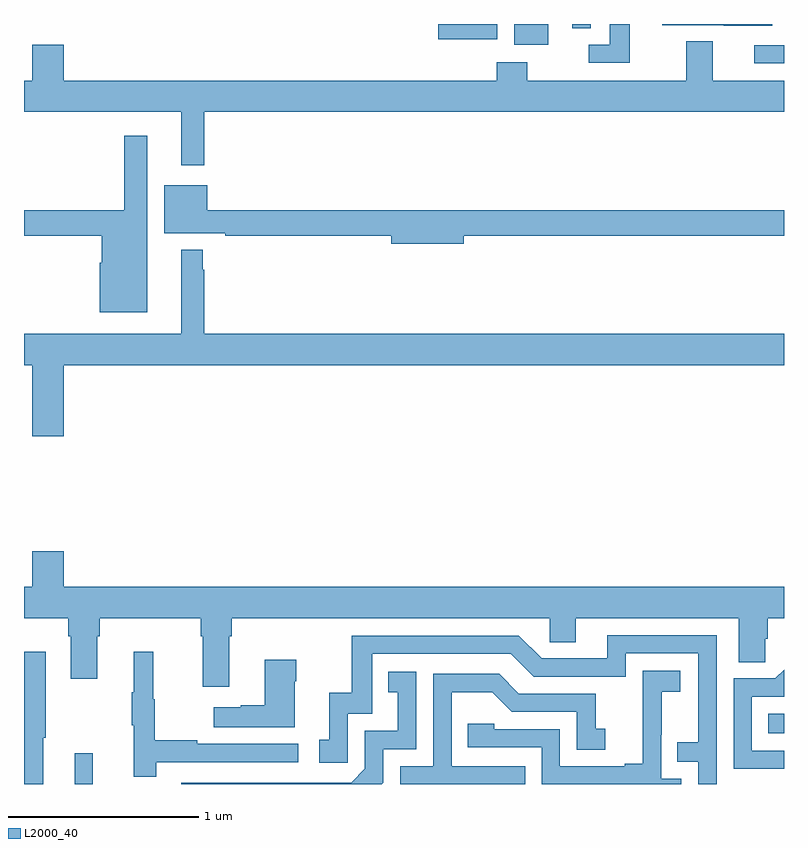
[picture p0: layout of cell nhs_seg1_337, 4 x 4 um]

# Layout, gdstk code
import gdstk
lib = gdstk.Library(unit=1e-6, precision=1e-09)
def R(c, l, rs):  # rectangles x0, y0, x1, y1
    for r in rs: c.add(gdstk.rectangle(r[:2], r[2:], *l))
def P(c, l, *ps):  # polygons
    for p in ps: c.add(gdstk.Polygon(p, *l))
L2000_40 = (2000, 40)

nhs_seg1_337 = lib.new_cell('nhs_seg1_337')
R(nhs_seg1_337, L2000_40, [(129.266,544.199,129.363,544.36), (132.916,544.466,133,544.57), (132.843,547.992,133,548.088), (131.579,548.09,131.758,548.199), (131.181,548.119,131.49,548.199), (131.886,548.176,131.982,548.199)])
P(nhs_seg1_337, L2000_40, [(132.937,548.199),(132.359,548.199),(132.359,548.193),(132.683,548.193),(132.683,548.189),(132.937,548.189)],
  [(132.187,548.199),(132.083,548.199),(132.083,548.091),(131.973,548.091),(131.973,547.995),(132.187,547.995)],
  [(129.949,547.736),(133,547.736),(133,547.9),(132.625,547.9),(132.625,548.108),(132.485,548.108),(132.485,547.9),(131.649,547.9),(131.649,547.999),(131.489,547.999),(131.489,547.9),(129.208,547.9),(129.208,548.089),(129.044,548.089),(129.044,547.9),(129,547.9),(129,547.736),(129.827,547.736),(129.827,547.455),(129.949,547.455)],
  [(129.649,547.612),(129.528,547.612),(129.528,547.22),(129,547.22),(129,547.084),(129.41,547.084),(129.41,546.942),(129.398,546.942),(129.398,546.683),(129.649,546.683)],
  [(131.314,547.084),(133,547.084),(133,547.22),(129.964,547.22),(129.964,547.351),(129.737,547.351),(129.737,547.097),(130.06,547.097),(130.06,547.084),(130.934,547.084),(130.934,547.042),(131.314,547.042)],
  [(129.208,546.404),(133,546.404),(133,546.568),(129.949,546.568),(129.949,546.905),(129.942,546.905),(129.942,547.012),(129.827,547.012),(129.827,546.568),(129,546.568),(129,546.404),(129.044,546.404),(129.044,546.03),(129.208,546.03)],
  [(130.081,544.976),(130.094,544.976),(130.094,545.072),(131.766,545.072),(131.766,544.945),(131.905,544.945),(131.905,545.072),(132.761,545.072),(132.761,544.84),(132.9,544.84),(132.9,544.963),(132.914,544.963),(132.914,545.072),(133,545.072),(133,545.236),(129.208,545.236),(129.208,545.425),(129.044,545.425),(129.044,545.236),(129,545.236),(129,545.072),(129.233,545.072),(129.233,544.976),(129.245,544.976),(129.245,544.752),(129.385,544.752),(129.385,544.976),(129.398,544.976),(129.398,545.072),(129.929,545.072),(129.929,544.976),(129.941,544.976),(129.941,544.71),(130.081,544.71)],
  [(132.645,544.983),(132.071,544.983),(132.071,544.86),(131.724,544.86),(131.604,544.98),(130.725,544.98),(130.725,544.678),(130.607,544.678),(130.607,544.431),(130.554,544.431),(130.554,544.311),(130.704,544.311),(130.704,544.569),(130.833,544.569),(130.833,544.884),(131.562,544.884),(131.682,544.764),(132.168,544.764),(132.168,544.887),(132.549,544.887),(132.549,544.418),(132.439,544.418),(132.439,544.317),(132.549,544.317),(132.549,544.199),(132.645,544.199)],
  [(129.695,544.314),(130.444,544.314),(130.444,544.41),(129.911,544.41),(129.911,544.43),(129.688,544.43),(129.688,544.644),(129.68,544.644),(129.68,544.894),(129.578,544.894),(129.578,544.681),(129.567,544.681),(129.567,544.507),(129.578,544.507),(129.578,544.236),(129.695,544.236)],
  [(129.1,544.442),(129.115,544.442),(129.115,544.894),(129,544.894),(129,544.199),(129.1,544.199)],
  [(130.426,544.739),(130.434,544.739),(130.434,544.852),(130.268,544.852),(130.268,544.613),(130.142,544.613),(130.142,544.603),(129.999,544.603),(129.999,544.499),(130.426,544.499)],
  [(133,544.374),(132.831,544.374),(132.831,544.659),(133,544.659),(133,544.801),(132.954,544.755),(132.735,544.755),(132.735,544.278),(133,544.278)],
  [(132.459,544.227),(132.354,544.227),(132.354,544.457),(132.356,544.457),(132.356,544.685),(132.454,544.685),(132.454,544.795),(132.256,544.795),(132.256,544.589),(132.257,544.589),(132.257,544.306),(132.161,544.306),(132.161,544.293),(131.82,544.293),(131.82,544.488),(131.475,544.488),(131.475,544.515),(131.335,544.515),(131.335,544.392),(131.724,544.392),(131.724,544.199),(132.459,544.199)],
  [(130.89,544.206),(130.89,544.383),(131.064,544.383),(131.064,544.789),(130.918,544.789),(130.918,544.683),(130.967,544.683),(130.967,544.479),(130.794,544.479),(130.794,544.278),(130.722,544.206),(129.828,544.206),(129.828,544.199),(130.883,544.199)],
  [(131.639,544.293),(131.25,544.293),(131.25,544.682),(131.464,544.682),(131.568,544.578),(131.91,544.578),(131.91,544.38),(132.058,544.38),(132.058,544.489),(132.009,544.489),(132.009,544.674),(131.605,544.674),(131.5,544.779),(131.154,544.779),(131.154,544.293),(130.98,544.293),(130.98,544.199),(131.639,544.199)])

lib.write_gds('nhs_seg1_337.gds')
